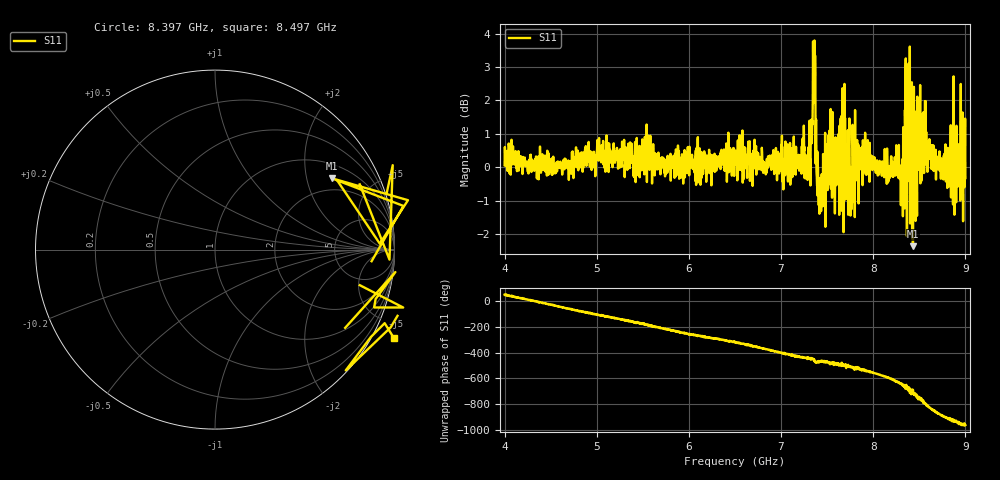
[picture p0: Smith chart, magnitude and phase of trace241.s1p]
! Created with skrf 1.8.0 (http://scikit-rf.org).
# Hz S RI R 50.0
!freq ReS11 ImS11
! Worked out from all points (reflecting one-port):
!   1601 points, 4 GHz to 9 GHz, reference 50 ohm
!   lowest |S11| = -2.4 dB at 8.431 GHz (marker M1), VSWR 7.40, Z = 74.7 + j142 ohm
!   phase of S11 starts at 53 deg and turns -1017 deg over the sweep
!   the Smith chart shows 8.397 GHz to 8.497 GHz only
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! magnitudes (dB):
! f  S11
! 4 GHz  0.1
! 4.625 GHz  -0.2
! 5.25 GHz  0.0
! 5.875 GHz  0.1
! 6.5 GHz  0.3
! 7.125 GHz  0.2
! 7.294 GHz  0.3
! 7.316 GHz  0.2
! 7.347 GHz  3.8
! 7.369 GHz  3.3
! 7.4 GHz  0.0
! 7.428 GHz  -0.4
! 7.512 GHz  0.9
! 7.591 GHz  0.9
! 7.669 GHz  0.9
! 7.75 GHz  -0.4
! 7.891 GHz  0.2
! 8.259 GHz  0.3
! 8.316 GHz  0.0
! 8.334 GHz  0.0
! 8.375 GHz  0.4
! 8.412 GHz  -0.2
! 8.431 GHz  -2.4
! 8.553 GHz  -0.2
! 8.603 GHz  0.8
! 8.812 GHz  0.1
! 8.947 GHz  1.0
! 9 GHz  -0.3
